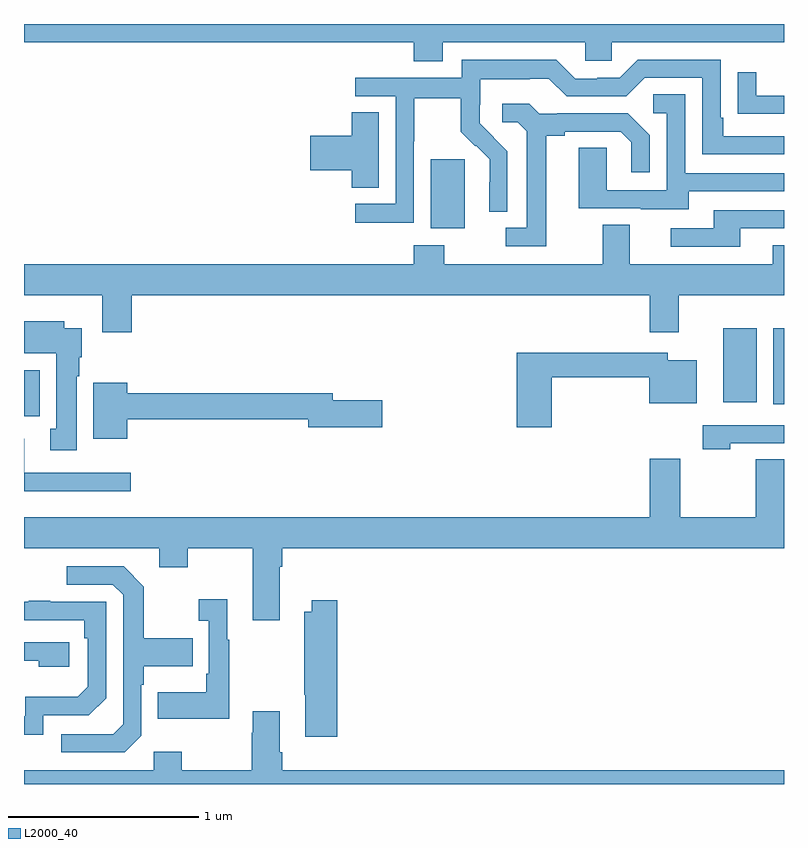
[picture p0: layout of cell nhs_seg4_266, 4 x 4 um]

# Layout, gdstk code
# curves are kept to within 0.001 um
import gdstk
lib = gdstk.Library(unit=1e-6, precision=1e-09)
def R(c, l, rs):  # rectangles x0, y0, x1, y1
    for r in rs: c.add(gdstk.rectangle(r[:2], r[2:], *l))
def P(c, l, *ps):  # polygons
    for p in ps: c.add(gdstk.Polygon(p, *l))
L2000_40 = (2000, 40)

nhs_seg4_266 = lib.new_cell('nhs_seg4_266')
R(nhs_seg4_266, L2000_40, [(123,810.836,123.082,811.078), (126.944,810.9,127,811.3), (126.68,810.908,126.856,811.3), (125.141,811.826,125.32,812.187)])
P(nhs_seg4_266, L2000_40, [(125.203,812.804),(125.955,812.804),(125.955,812.706),(126.093,812.706),(126.093,812.804),(127,812.804),(127,812.9),(123,812.9),(123,812.804),(125.051,812.804),(125.051,812.705),(125.203,812.705)],
  [(125.052,812.284),(125.055,812.284),(125.055,812.508),(125.299,812.508),(125.299,812.333),(125.376,812.256),(125.379,812.259),(125.45,812.189),(125.45,812.066),(125.448,812.066),(125.448,811.912),(125.544,811.912),(125.544,812.23),(125.398,812.378),(125.398,812.475),(125.4,812.475),(125.4,812.609),(125.663,812.609),(125.663,812.613),(125.763,812.613),(125.856,812.52),(126.171,812.52),(126.267,812.616),(126.57,812.616),(126.57,812.214),(127,812.214),(127,812.31),(126.679,812.31),(126.679,812.407),(126.666,812.407),(126.666,812.712),(126.231,812.712),(126.135,812.616),(126.017,812.616),(126.017,812.613),(125.901,812.613),(125.801,812.713),(125.304,812.713),(125.304,812.616),(124.743,812.616),(124.743,812.52),(124.956,812.52),(124.956,811.953),(124.743,811.953),(124.743,811.855),(125.052,811.855)],
  [(127,812.523),(126.853,812.523),(126.853,812.647),(126.757,812.647),(126.757,812.428),(126.859,812.428),(126.859,812.427),(127,812.427)],
  [(126.499,812.019),(127,812.019),(127,812.115),(126.48,812.115),(126.48,812.531),(126.312,812.531),(126.312,812.43),(126.384,812.43),(126.384,812.025),(126.066,812.025),(126.066,812.249),(125.921,812.249),(125.921,811.929),(126.245,811.929),(126.245,811.925),(126.499,811.925)],
  [(125.749,812.312),(125.845,812.312),(125.845,812.334),(126.14,812.334),(126.197,812.277),(126.197,812.121),(126.294,812.121),(126.294,812.314),(126.178,812.43),(125.806,812.43),(125.806,812.427),(125.712,812.427),(125.66,812.479),(125.517,812.479),(125.517,812.382),(125.598,812.382),(125.645,812.335),(125.645,811.827),(125.535,811.827),(125.535,811.731),(125.749,811.731)],
  [(124.867,812.435),(124.724,812.435),(124.724,812.312),(124.506,812.312),(124.506,812.129),(124.724,812.129),(124.724,812.038),(124.867,812.038)],
  [(126.769,811.824),(127,811.824),(127,811.92),(126.629,811.92),(126.629,811.824),(126.405,811.824),(126.405,811.728),(126.769,811.728)],
  [(123.566,811.472),(126.293,811.472),(126.293,811.278),(126.445,811.278),(126.445,811.472),(127,811.472),(127,811.735),(126.941,811.735),(126.941,811.636),(126.187,811.636),(126.187,811.844),(126.047,811.844),(126.047,811.636),(125.211,811.636),(125.211,811.735),(125.051,811.735),(125.051,811.636),(123,811.636),(123,811.472),(123.413,811.472),(123.413,811.278),(123.566,811.278)],
  [(123.277,811.046),(123.292,811.046),(123.292,811.146),(123.304,811.146),(123.304,811.3),(123.211,811.3),(123.211,811.336),(123,811.336),(123,811.166),(123.17,811.166),(123.17,810.77),(123.137,810.77),(123.137,810.657),(123.277,810.657)],
  [(125.777,811.042),(126.29,811.042),(126.29,810.905),(126.541,810.905),(126.541,811.129),(126.388,811.129),(126.388,811.171),(125.594,811.171),(125.594,810.777),(125.777,810.777)],
  [(123.544,810.82),(124.496,810.82),(124.496,810.778),(124.885,810.778),(124.885,810.92),(124.624,810.92),(124.624,810.956),(123.544,810.956),(123.544,811.012),(123.365,811.012),(123.365,810.716),(123.544,810.716)],
  [(126.717,810.693),(127,810.693),(127,810.789),(126.573,810.789),(126.573,810.661),(126.717,810.661)],
  [(123.562,810.537),(123.001,810.537),(123.001,810.718),(123,810.718),(123,810.44),(123.562,810.44)],
  [(124.345,810.044),(124.358,810.044),(124.358,810.14),(127,810.14),(127,810.608),(126.85,810.608),(126.85,810.304),(126.453,810.304),(126.453,810.613),(126.293,810.613),(126.293,810.304),(123,810.304),(123,810.14),(123.713,810.14),(123.713,810.041),(123.861,810.041),(123.861,810.14),(124.205,810.14),(124.205,809.763),(124.345,809.763)],
  [(123.618,809.154),(123.618,809.423),(123.631,809.423),(123.631,809.519),(123.887,809.519),(123.887,809.667),(123.631,809.667),(123.631,809.939),(123.525,810.045),(123.225,810.045),(123.225,809.949),(123.468,809.949),(123.522,809.895),(123.522,809.214),(123.471,809.163),(123.195,809.163),(123.195,809.067),(123.531,809.067)],
  [(124.081,809.659),(124.069,809.659),(124.069,809.872),(123.921,809.872),(123.921,809.759),(123.972,809.759),(123.972,809.479),(123.96,809.479),(123.96,809.383),(123.703,809.383),(123.703,809.243),(124.081,809.243)],
  [(124.649,809.866),(124.514,809.866),(124.514,809.806),(124.474,809.806),(124.474,809.371),(124.481,809.371),(124.481,809.148),(124.649,809.148)],
  [(123.102,809.262),(123.342,809.262),(123.432,809.352),(123.432,809.859),(123.137,809.859),(123.137,809.864),(123.025,809.864),(123.025,809.859),(123,809.859),(123,809.763),(123.316,809.763),(123.316,809.666),(123.336,809.666),(123.336,809.412),(123.283,809.359),(123.006,809.359),(123.006,809.256),(123,809.256),(123,809.16),(123.102,809.16)],
  [(123.238,809.646),(123,809.646),(123,809.55),(123.077,809.55),(123.077,809.516),(123.238,809.516)],
  [(127,808.972),(124.358,808.972),(124.358,809.068),(124.345,809.068),(124.345,809.284),(124.205,809.284),(124.205,809.171),(124.198,809.171),(124.198,808.972),(123.831,808.972),(123.831,809.071),(123.684,809.071),(123.684,808.972),(123,808.972),(123,808.9),(127,808.9)])

lib.write_gds('nhs_seg4_266.gds')
